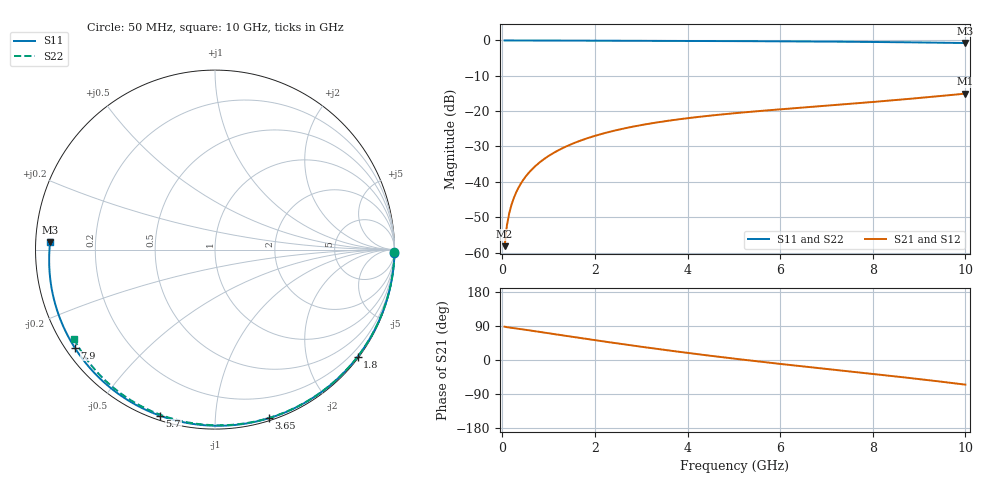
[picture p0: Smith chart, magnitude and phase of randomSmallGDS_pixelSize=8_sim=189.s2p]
! freq	dB(S11)	phase(S11)	dB(S12)	phase(S12)
!  dB(S21)	phase(S21)	dB(S22)	phase(S22)
!S-par simulation data
#  GHz  S  DB  R 50
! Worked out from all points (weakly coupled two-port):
!   200 points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, 50 MHz to 10 GHz, reference 50 ohm
!   highest |S21| = -15.04 dB at 10 GHz (marker M1); lowest = -58.2 dB at 50 MHz (marker M2)
!   lowest |S11| = -0.7 dB at 10 GHz (marker M3), VSWR 23.87, Z = 2.1 + j1.09 ohm
!   |S11| at or under -10 dB: nowhere
!   |S22| runs from -0.6 to 0.0 dB; largest |S21 - S12| = 0
!   S11 on the Smith chart (normalised r, x): 50 MHz: open; 1.8 GHz: 0.03, -3.00; 3.65 GHz: 0.02, -1.37; 5.7 GHz: 0.02, -0.72; 7.9 GHz: 0.03, -0.31; 10 GHz: 0.04, +0.02
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0.05  -0.00 -1.0  -58.20 88.0  -58.20 88.0  -0.00 -0.9
0.1  -0.00 -2.1  -52.29 86.6  -52.29 86.6  -0.00 -1.8
0.15  -0.00 -3.1  -48.86 85.7  -48.86 85.7  -0.00 -2.6
0.2  -0.00 -4.2  -46.42 84.8  -46.42 84.8  -0.00 -3.5
0.35  -0.01 -7.3  -41.65 82.4  -41.65 82.4  -0.00 -6.1
0.5  -0.01 -10.4  -38.59 79.8  -38.59 79.8  -0.01 -8.7
0.7  -0.02 -14.6  -35.71 76.1  -35.71 76.1  -0.01 -12.2
1  -0.03 -20.7  -32.68 70.6  -32.68 70.6  -0.02 -17.3
1.35  -0.04 -27.8  -30.16 64.2  -30.16 64.2  -0.03 -23.3
1.75  -0.05 -35.9  -28.05 56.9  -28.05 56.9  -0.04 -30.0
1.8  -0.05 -36.9  -27.82 56.0  -27.82 56.0  -0.05 -30.9
2.6  -0.08 -52.6  -24.98 41.8  -24.98 41.8  -0.07 -44.1
3.4  -0.11 -67.7  -23.07 28.4  -23.07 28.4  -0.10 -56.9
3.65  -0.12 -72.3  -22.59 24.3  -22.59 24.3  -0.10 -60.8
4.35  -0.15 -85.0  -21.46 13.4  -21.46 13.4  -0.13 -71.5
5.05  -0.18 -97.2  -20.54 3.0  -20.54 3.0  -0.16 -81.8
5.7  -0.22 -108.3  -19.80 -6.2  -19.80 -6.2  -0.19 -91.1
6.7  -0.29 -125.1  -18.77 -19.6  -18.77 -19.6  -0.25 -104.8
7.9  -0.41 -145.1  -17.52 -35.4  -17.52 -35.4  -0.35 -120.7
8.35  -0.47 -152.7  -17.02 -41.4  -17.02 -41.4  -0.40 -126.5
9.2  -0.59 -167.6  -16.03 -53.2  -16.03 -53.2  -0.51 -137.5
10  -0.73 177.5  -15.04 -65.1  -15.04 -65.1  -0.64 -147.8
